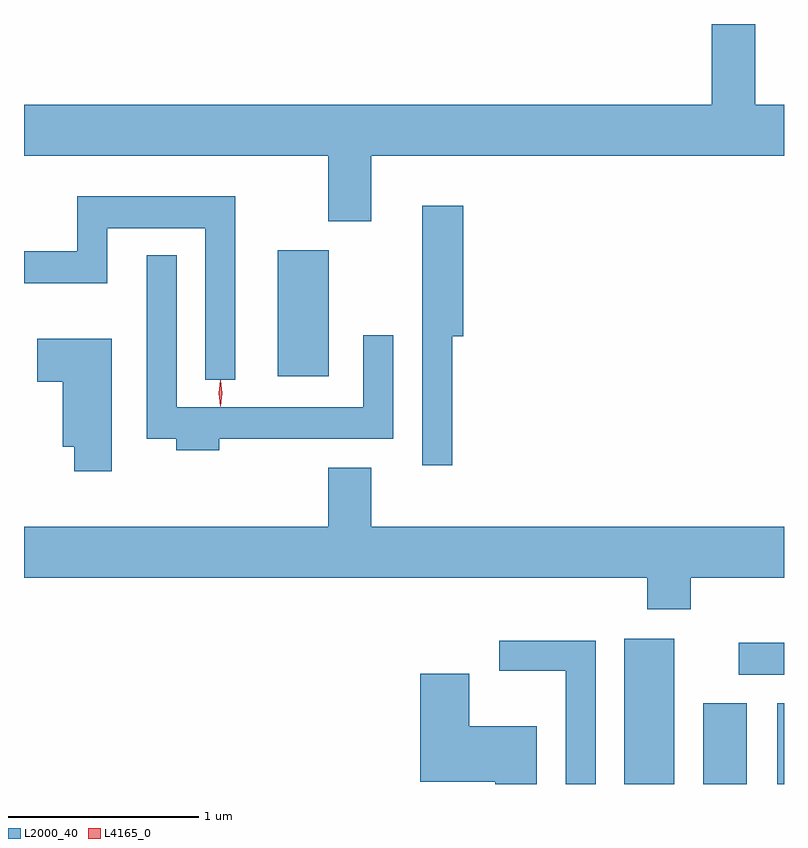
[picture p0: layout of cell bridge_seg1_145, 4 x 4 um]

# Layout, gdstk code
import gdstk
lib = gdstk.Library(unit=1e-6, precision=1e-09)
def R(c, l, rs):  # rectangles x0, y0, x1, y1
    for r in rs: c.add(gdstk.rectangle(r[:2], r[2:], *l))
def P(c, l, *ps):  # polygons
    for p in ps: c.add(gdstk.Polygon(p, *l))
L2000_40 = (2000, 40)
L4165_0 = (4165, 0)

bridge_seg1_145 = lib.new_cell('bridge_seg1_145')
R(bridge_seg1_145, L2000_40, [(844.971,911.81,845.234,912.574), (845.386,911.81,845.614,912.234), (845.776,911.81,845.811,912.234), (845.573,912.386,845.811,912.554), (843.146,913.956,843.414,914.619)])
P(bridge_seg1_145, L2000_40, [(843.639,915.116),(845.811,915.116),(845.811,915.384),(845.659,915.384),(845.659,915.81),(845.431,915.81),(845.431,915.384),(841.811,915.384),(841.811,915.116),(843.411,915.116),(843.411,914.771),(843.639,914.771)],
  [(842.924,914.904),(842.091,914.904),(842.091,914.614),(841.811,914.614),(841.811,914.446),(842.249,914.446),(842.249,914.736),(842.766,914.736),(842.766,913.938),(842.924,913.938)],
  [(844.064,914.166),(844.124,914.166),(844.124,914.854),(843.906,914.854),(843.906,913.488),(844.064,913.488)],
  [(842.839,913.626),(843.754,913.626),(843.754,914.173),(843.596,914.173),(843.596,913.794),(842.614,913.794),(842.614,914.593),(842.456,914.593),(842.456,913.626),(842.611,913.626),(842.611,913.566),(842.839,913.566)],
  [(842.274,914.154),(841.881,914.154),(841.881,913.926),(842.016,913.926),(842.016,913.586),(842.076,913.586),(842.076,913.456),(842.274,913.456)],
  [(843.411,913.474),(843.411,913.164),(841.811,913.164),(841.811,912.896),(845.091,912.896),(845.091,912.731),(845.319,912.731),(845.319,912.896),(845.811,912.896),(845.811,913.164),(843.639,913.164),(843.639,913.474)],
  [(844.819,912.564),(844.313,912.564),(844.313,912.406),(844.661,912.406),(844.661,911.81),(844.819,911.81)],
  [(844.509,912.114),(844.154,912.114),(844.154,912.389),(843.896,912.389),(843.896,911.821),(844.291,911.821),(844.291,911.81),(844.509,911.81)])
P(bridge_seg1_145, L4165_0, [(842.845,913.797),(842.845,913.797),(842.835,913.867),(842.845,913.936),(842.845,913.936),(842.846,913.936),(842.855,913.867),(842.846,913.797)],
  [(842.844,913.799),(842.844,913.8),(842.835,913.866),(842.844,913.932),(842.845,913.933),(842.845,913.932),(842.854,913.866),(842.845,913.8)])

lib.write_gds('bridge_seg1_145.gds')
